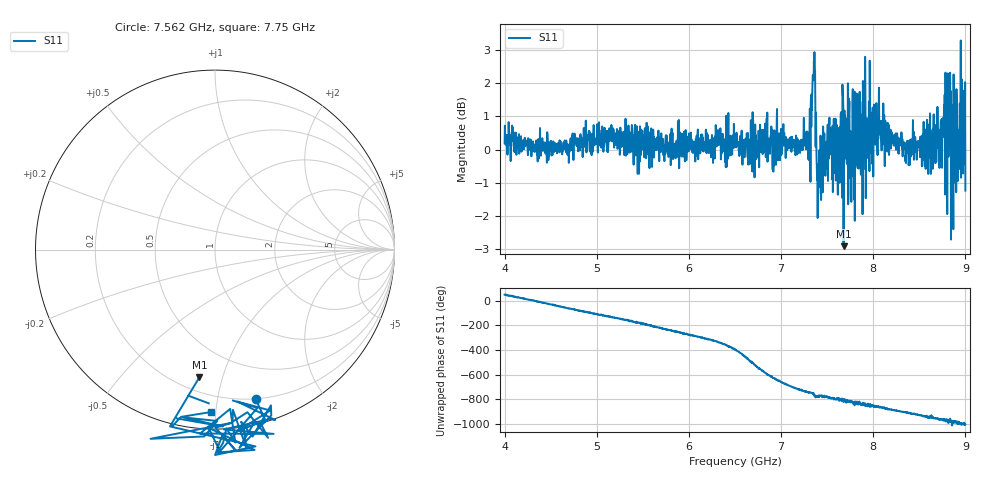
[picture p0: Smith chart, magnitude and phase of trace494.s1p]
! Created with skrf 1.8.0 (http://scikit-rf.org).
# Hz S RI R 50.0
!freq ReS11 ImS11
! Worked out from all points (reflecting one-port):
!   1601 points, 4 GHz to 9 GHz, reference 50 ohm
!   lowest |S11| = -2.9 dB at 7.678 GHz (marker M1), VSWR 6.04, Z = 14.5 - j42.2 ohm
!   phase of S11 starts at 50 deg and turns -1055 deg over the sweep
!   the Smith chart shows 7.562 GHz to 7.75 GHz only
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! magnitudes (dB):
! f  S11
! 4 GHz  0.2
! 4.625 GHz  -0.1
! 5.25 GHz  -0.2
! 5.875 GHz  0.3
! 6.5 GHz  0.4
! 7.125 GHz  0.1
! 7.294 GHz  -0.3
! 7.347 GHz  2.1
! 7.366 GHz  2.1
! 7.397 GHz  -2.1
! 7.412 GHz  -0.8
! 7.525 GHz  1.0
! 7.6 GHz  -0.7
! 7.638 GHz  0.7
! 7.65 GHz  1.1
! 7.678 GHz  -2.9
! 7.75 GHz  -0.9
! 7.784 GHz  -0.4
! 7.834 GHz  0.0
! 7.881 GHz  0.8
! 8.084 GHz  0.3
! 8.375 GHz  -0.1
! 8.65 GHz  -0.5
! 8.809 GHz  2.3
! 8.869 GHz  -2.4
! 8.959 GHz  2.1
! 8.972 GHz  0.5
! 9 GHz  -1.2
